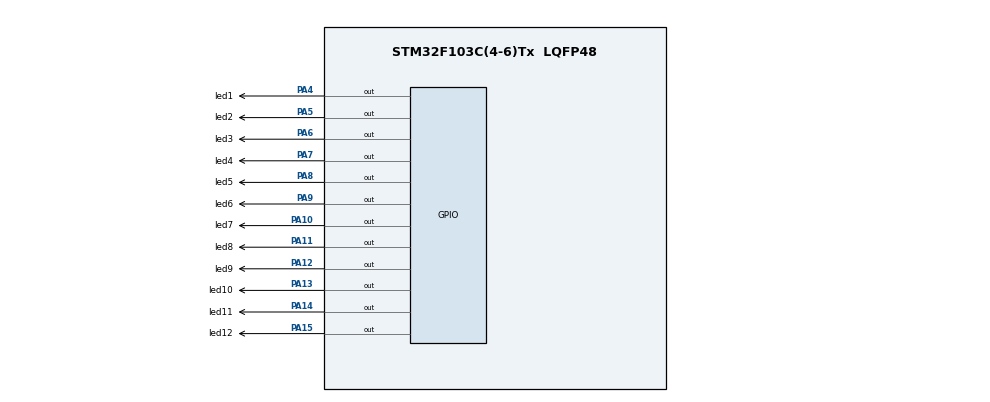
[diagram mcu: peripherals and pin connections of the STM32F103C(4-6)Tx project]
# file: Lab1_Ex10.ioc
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Mcu.Family=STM32F1
Mcu.Name=STM32F103C(4-6)Tx
Mcu.Package=LQFP48
NVIC.PriorityGroup=NVIC_PRIORITYGROUP_4
PA10.GPIO_Label=led7
PA10.Signal=GPIO_Output
PA11.GPIO_Label=led8
PA11.Signal=GPIO_Output
PA12.GPIO_Label=led9
PA12.Signal=GPIO_Output
PA13.GPIO_Label=led10
PA13.Signal=GPIO_Output
PA14.GPIO_Label=led11
PA14.Signal=GPIO_Output
PA15.GPIO_Label=led12
PA15.Signal=GPIO_Output
PA4.GPIO_Label=led1
PA4.Signal=GPIO_Output
PA5.GPIO_Label=led2
PA5.Signal=GPIO_Output
PA6.GPIO_Label=led3
PA6.Signal=GPIO_Output
PA7.GPIO_Label=led4
PA7.Signal=GPIO_Output
PA8.GPIO_Label=led5
PA8.Signal=GPIO_Output
PA9.GPIO_Label=led6
PA9.Signal=GPIO_Output
ProjectManager.HeapSize=0x200
ProjectManager.StackSize=0x400
ProjectManager.TargetToolchain=STM32CubeIDE
RCC.APB1Freq_Value=8000000
RCC.APB2Freq_Value=8000000
VP_SYS_VS_ND.Mode=No_Debug
board=custom

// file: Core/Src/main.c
/* USER CODE BEGIN Header */
/**
  ******************************************************************************
  * @file           : main.c
  * @brief          : Main program body
  ******************************************************************************
  * @attention
  *
  * <h2><center>&copy; Copyright (c) 2021 STMicroelectronics.
  * All rights reserved.</center></h2>
  *
  * This software component is licensed by ST under BSD 3-Clause license,
  * the "License"; You may not use this file except in compliance with the
  * License. You may obtain a copy of the License at:
  *                        opensource.org/licenses/BSD-3-Clause
  *
  ******************************************************************************
  */
/* USER CODE END Header */
#include "main.h"

void SystemClock_Config(void);
static void MX_GPIO_Init(void);

/* USER CODE BEGIN 0 */
void turnOnAllClock(){
	HAL_GPIO_WritePin(led12_GPIO_Port,led12_Pin, GPIO_PIN_RESET);
	  HAL_GPIO_WritePin(led11_GPIO_Port,led11_Pin, GPIO_PIN_RESET);
	  HAL_GPIO_WritePin(led10_GPIO_Port,led10_Pin, GPIO_PIN_RESET);
	  HAL_GPIO_WritePin(led9_GPIO_Port,led9_Pin, GPIO_PIN_RESET);
	  HAL_GPIO_WritePin(led8_GPIO_Port,led8_Pin, GPIO_PIN_RESET);
	  HAL_GPIO_WritePin(led7_GPIO_Port,led7_Pin, GPIO_PIN_RESET);
	  HAL_GPIO_WritePin(led6_GPIO_Port,led6_Pin, GPIO_PIN_RESET);
	  HAL_GPIO_WritePin(led5_GPIO_Port,led5_Pin, GPIO_PIN_RESET);
	  HAL_GPIO_WritePin(led4_GPIO_Port,led4_Pin, GPIO_PIN_RESET);
	  HAL_GPIO_WritePin(led3_GPIO_Port,led3_Pin, GPIO_PIN_RESET);
	  HAL_GPIO_WritePin(led2_GPIO_Port,led2_Pin, GPIO_PIN_RESET);
	  HAL_GPIO_WritePin(led1_GPIO_Port,led1_Pin, GPIO_PIN_RESET);
	  HAL_Delay(1500);
}
void clearAllClock(){
	  HAL_GPIO_WritePin(led12_GPIO_Port,led12_Pin, GPIO_PIN_SET);
	  HAL_GPIO_WritePin(led11_GPIO_Port,led11_Pin, GPIO_PIN_SET);
	  HAL_GPIO_WritePin(led10_GPIO_Port,led10_Pin, GPIO_PIN_SET);
	  HAL_GPIO_WritePin(led9_GPIO_Port,led9_Pin, GPIO_PIN_SET);
	  HAL_GPIO_WritePin(led8_GPIO_Port,led8_Pin, GPIO_PIN_SET);
	  HAL_GPIO_WritePin(led7_GPIO_Port,led7_Pin, GPIO_PIN_SET);
	  HAL_GPIO_WritePin(led6_GPIO_Port,led6_Pin, GPIO_PIN_SET);
	  HAL_GPIO_WritePin(led5_GPIO_Port,led5_Pin, GPIO_PIN_SET);
	  HAL_GPIO_WritePin(led4_GPIO_Port,led4_Pin, GPIO_PIN_SET);
	  HAL_GPIO_WritePin(led3_GPIO_Port,led3_Pin, GPIO_PIN_SET);
	  HAL_GPIO_WritePin(led2_GPIO_Port,led2_Pin, GPIO_PIN_SET);
	  HAL_GPIO_WritePin(led1_GPIO_Port,led1_Pin, GPIO_PIN_SET);
	  //HAL_Delay(1500);
}
void setNumberOnClock(int num){
	switch(num){
	case 0:
			HAL_GPIO_WritePin(led12_GPIO_Port,led12_Pin, GPIO_PIN_RESET);
			  break;
	case 1:  HAL_GPIO_WritePin(led1_GPIO_Port,led1_Pin, GPIO_PIN_RESET);
			  break;
	case 2: HAL_GPIO_WritePin(led2_GPIO_Port,led2_Pin, GPIO_PIN_RESET);
			  break;
	case 3: HAL_GPIO_WritePin(led3_GPIO_Port,led3_Pin, GPIO_PIN_RESET);
			  break;
	case 4: HAL_GPIO_WritePin(led4_GPIO_Port,led4_Pin, GPIO_PIN_RESET);
			  break;
	case 5: HAL_GPIO_WritePin(led5_GPIO_Port,led5_Pin, GPIO_PIN_RESET);
			  break;
	case 6: HAL_GPIO_WritePin(led6_GPIO_Port,led6_Pin, GPIO_PIN_RESET);
			  break;
	case 7: HAL_GPIO_WritePin(led7_GPIO_Port,led7_Pin, GPIO_PIN_RESET);
			  break;
	case 8: HAL_GPIO_WritePin(led8_GPIO_Port,led8_Pin, GPIO_PIN_RESET);
			  break;
	case 9: HAL_GPIO_WritePin(led9_GPIO_Port,led9_Pin, GPIO_PIN_RESET);
			  break;
	case 10: HAL_GPIO_WritePin(led10_GPIO_Port,led10_Pin, GPIO_PIN_RESET);
			  break;
	case 11: HAL_GPIO_WritePin(led11_GPIO_Port,led11_Pin, GPIO_PIN_RESET);
			  break;

	}
}

void clearNumberOnClock(int num){
	switch(num){
	case 0: HAL_GPIO_WritePin(led12_GPIO_Port,led12_Pin, GPIO_PIN_SET);
			break;
	case 1: HAL_GPIO_WritePin(led1_GPIO_Port,led1_Pin, GPIO_PIN_SET);
				break;
	case 2: HAL_GPIO_WritePin(led2_GPIO_Port,led2_Pin, GPIO_PIN_SET);
				break;
	case 3: HAL_GPIO_WritePin(led3_GPIO_Port,led3_Pin, GPIO_PIN_SET);
				break;
	case 4: HAL_GPIO_WritePin(led4_GPIO_Port,led4_Pin, GPIO_PIN_SET);
				break;
	case 5: HAL_GPIO_WritePin(led5_GPIO_Port,led5_Pin, GPIO_PIN_SET);
				break;
	case 6: HAL_GPIO_WritePin(led6_GPIO_Port,led6_Pin, GPIO_PIN_SET);
				break;
	case 7: HAL_GPIO_WritePin(led7_GPIO_Port,led7_Pin, GPIO_PIN_SET);
				break;
	case 8: HAL_GPIO_WritePin(led8_GPIO_Port,led8_Pin, GPIO_PIN_SET);
				break;
	case 9: HAL_GPIO_WritePin(led9_GPIO_Port,led9_Pin, GPIO_PIN_SET);
				break;
	case 10: HAL_GPIO_WritePin(led10_GPIO_Port,led10_Pin, GPIO_PIN_SET);
				break;
	case 11: HAL_GPIO_WritePin(led11_GPIO_Port,led11_Pin, GPIO_PIN_SET);
				break;
	}
}
/* USER CODE END 0 */

int main(void)
{

  /* MCU Configuration--------------------------------------------------------*/

  /* Reset of all peripherals, Initializes the Flash interface and the Systick. */
  HAL_Init();

  /* Configure the system clock */
  SystemClock_Config();

  /* Initialize all configured peripherals */
  MX_GPIO_Init();

  /* Infinite loop */
  /* USER CODE BEGIN WHILE */
  int countSec = 0;
  int start = 1;
  int  min=11, hour=1;
  while (1)
  {

	  //EXERCISE 10
	  if(start == 1){
		  clearAllClock();
		  start = 0;

	  }

	  if(countSec == 12){
		  countSec = 0;
		  if(min!=hour) clearNumberOnClock(min);
		  ++min;
		 if(min == 12){
			 min = 0;
			 if(hour!= min) clearNumberOnClock(hour);
			 ++hour;
		 }

	  }
	  setNumberOnClock(min);
	  setNumberOnClock(hour);
	  if(countSec !=min && countSec != hour) setNumberOnClock(countSec);
	  HAL_Delay(300);
	  if(countSec !=min && countSec != hour) clearNumberOnClock(countSec);
	  countSec++;

    /* USER CODE END WHILE */

  }
}

void SystemClock_Config(void)
{
  RCC_OscInitTypeDef RCC_OscInitStruct = {0};
  RCC_ClkInitTypeDef RCC_ClkInitStruct = {0};

  /** Initializes the RCC Oscillators according to the specified parameters
  * in the RCC_OscInitTypeDef structure.
  */
  RCC_OscInitStruct.OscillatorType = RCC_OSCILLATORTYPE_HSI;
  RCC_OscInitStruct.HSIState = RCC_HSI_ON;
  RCC_OscInitStruct.HSICalibrationValue = RCC_HSICALIBRATION_DEFAULT;
  RCC_OscInitStruct.PLL.PLLState = RCC_PLL_NONE;
  if (HAL_RCC_OscConfig(&RCC_OscInitStruct) != HAL_OK)
  {
    Error_Handler();
  }
  /** Initializes the CPU, AHB and APB buses clocks
  */
  RCC_ClkInitStruct.ClockType = RCC_CLOCKTYPE_HCLK|RCC_CLOCKTYPE_SYSCLK
                              |RCC_CLOCKTYPE_PCLK1|RCC_CLOCKTYPE_PCLK2;
  RCC_ClkInitStruct.SYSCLKSource = RCC_SYSCLKSOURCE_HSI;
  RCC_ClkInitStruct.AHBCLKDivider = RCC_SYSCLK_DIV1;
  RCC_ClkInitStruct.APB1CLKDivider = RCC_HCLK_DIV1;
  RCC_ClkInitStruct.APB2CLKDivider = RCC_HCLK_DIV1;

  if (HAL_RCC_ClockConfig(&RCC_ClkInitStruct, FLASH_LATENCY_0) != HAL_OK)
  {
    Error_Handler();
  }
}

static void MX_GPIO_Init(void)
{
  GPIO_InitTypeDef GPIO_InitStruct = {0};

  /* GPIO Ports Clock Enable */
  __HAL_RCC_GPIOA_CLK_ENABLE();

  /*Configure GPIO pin Output Level */
  HAL_GPIO_WritePin(GPIOA, led1_Pin|led2_Pin|led3_Pin|led4_Pin
                          |led5_Pin|led6_Pin|led7_Pin|led8_Pin
                          |led9_Pin|led10_Pin|led11_Pin|led12_Pin, GPIO_PIN_RESET);

  /*Configure GPIO pins : led1_Pin led2_Pin led3_Pin led4_Pin
                           led5_Pin led6_Pin led7_Pin led8_Pin
                           led9_Pin led10_Pin led11_Pin led12_Pin */
  GPIO_InitStruct.Pin = led1_Pin|led2_Pin|led3_Pin|led4_Pin
                          |led5_Pin|led6_Pin|led7_Pin|led8_Pin
                          |led9_Pin|led10_Pin|led11_Pin|led12_Pin;
  GPIO_InitStruct.Mode = GPIO_MODE_OUTPUT_PP;
  GPIO_InitStruct.Pull = GPIO_NOPULL;
  GPIO_InitStruct.Speed = GPIO_SPEED_FREQ_LOW;
  HAL_GPIO_Init(GPIOA, &GPIO_InitStruct);

}

void Error_Handler(void)
{
  __disable_irq();
  while (1)
  {
  }
}

/************************ (C) COPYRIGHT STMicroelectronics *****END OF FILE****/
